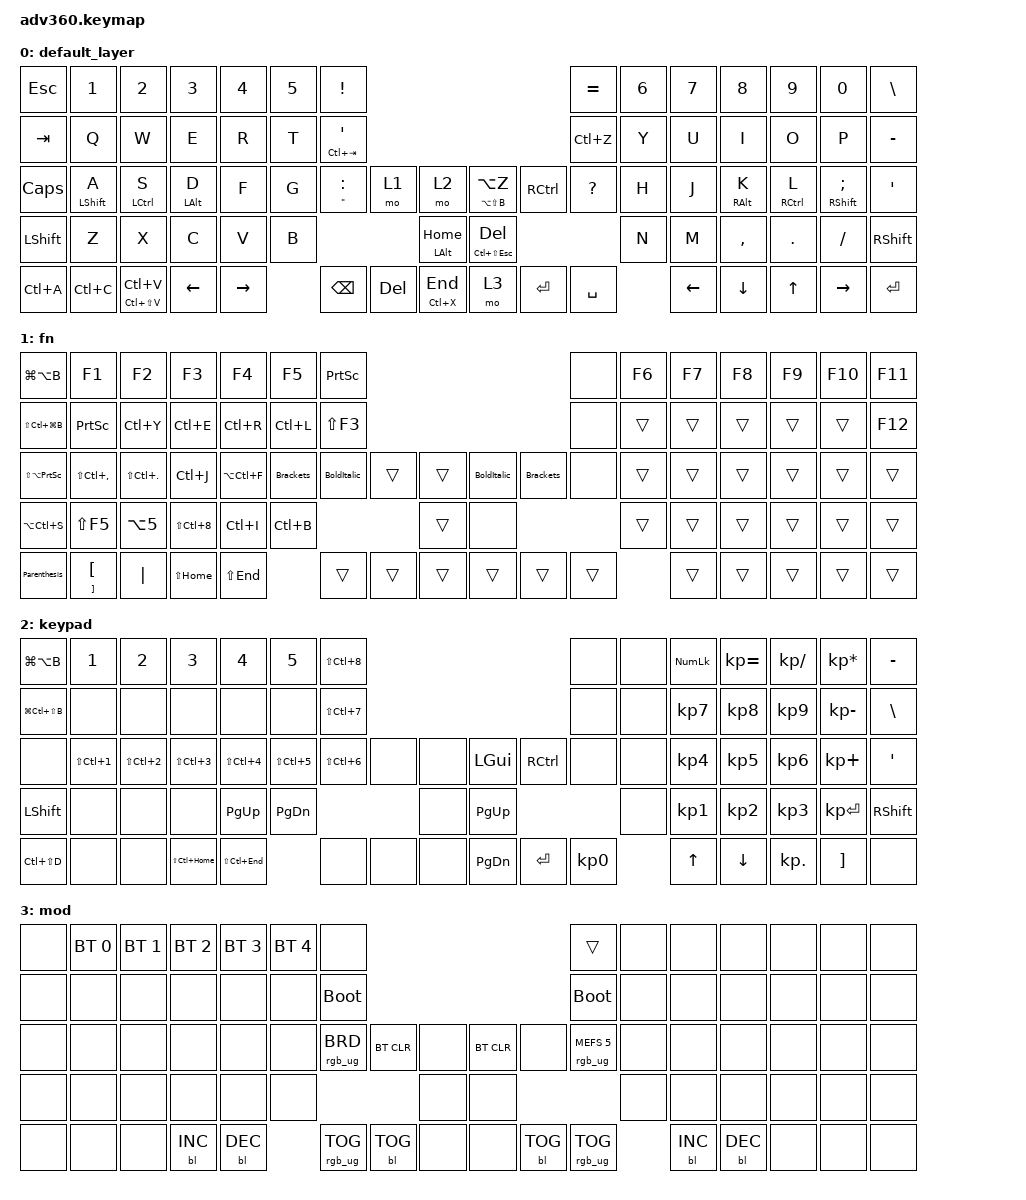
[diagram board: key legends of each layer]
#include <behaviors.dtsi>
#include <dt-bindings/zmk/backlight.h>
#include <dt-bindings/zmk/bt.h>
#include <dt-bindings/zmk/keys.h>
#include <dt-bindings/zmk/rgb.h>

/ {
    behaviors {
        #include "macros.dtsi"
      #include "version.dtsi"
      #ifndef VERSION_MACRO



        #endif

        hm: homerow_mods {
            compatible = "zmk,behavior-hold-tap";
            label = "HOMEROW_MODS";
            #binding-cells = <2>;
            tapping-term-ms = <250>;
            quick_tap_ms = <160>;
            flavor = "tap-preferred";
            bindings = <&kp>, <&kp>;
        };
    };

    macros {
        BoldItalic: BoldItalic {
            compatible = "zmk,behavior-macro";
            #binding-cells = <0>;
            bindings = <&kp LC(B) &kp LC(I) &kp RIGHT_ARROW>;
            label = "BOLDITALIC";
        };

        Brackets: Brackets {
            compatible = "zmk,behavior-macro";
            #binding-cells = <0>;
            bindings = <&kp LBKT &kp RBKT &kp LEFT_ARROW>;
            label = "BRACKETS";
        };

        Parenthesis: Paranthesis {
            compatible = "zmk,behavior-macro";
            #binding-cells = <0>;
            bindings = <&kp LEFT_PARENTHESIS &kp RIGHT_PARENTHESIS &kp LEFT_ARROW>;
            label = "PARANTHESIS";
        };
    };

    keymap {
        compatible = "zmk,keymap";

        default_layer {
            bindings = <
&kp ESCAPE  &kp N1            &kp N2               &kp N3          &kp N4     &kp N5  &kp EXCLAMATION                                                                                   &kp EQUAL     &kp N6  &kp N7    &kp N8           &kp N9               &kp N0                &kp BACKSLASH
&kp TAB     &kp Q             &kp W                &kp E           &kp R      &kp T   &mt LC(TAB) SQT                                                                                   &kp LC(Z)     &kp Y   &kp U     &kp I            &kp O                &kp P                 &kp MINUS
&kp CAPS    &hm LEFT_SHIFT A  &hm LEFT_CONTROL S   &hm LEFT_ALT D  &kp F      &kp G   &mt DOUBLE_QUOTES COLON  &mo 1       &mo 2                  &mt LA(LS(B)) LA(Z)        &kp RCTRL  &kp QUESTION  &kp H   &kp J     &hm RIGHT_ALT K  &hm RIGHT_CONTROL L  &hm RIGHT_SHIFT SEMI  &kp SQT
&kp LSHFT   &kp Z             &kp X                &kp C           &kp V      &kp B                                        &mt LEFT_ALT HOME      &mt LC(LS(ESCAPE)) DELETE                           &kp N   &kp M     &kp COMMA        &kp DOT              &kp FSLH              &kp RSHFT
&kp LC(A)   &kp LC(C)         &mt LC(LS(V)) LC(V)  &kp LEFT        &kp RIGHT          &kp BSPC                 &kp DELETE  &mt LC(X) END          &mo 3                      &kp ENTER  &kp SPACE             &kp LEFT  &kp DOWN         &kp UP_ARROW         &kp RIGHT             &kp ENTER
            >;
        };

        fn {
            bindings = <
&kp LG(LA(B))            &kp F1                          &kp F2           &kp F3          &kp F4         &kp F5     &kp PRINTSCREEN                                              &none   &kp F6  &kp F7  &kp F8  &kp F9  &kp F10  &kp F11
&kp LS(LC(LG(B)))        &kp PRINTSCREEN                 &kp LC(Y)        &kp LC(E)       &kp LC(R)      &kp LC(L)  &kp LS(F3)                                                   &none   &trans  &trans  &trans  &trans  &trans   &kp F12
&kp LS(LA(PRINTSCREEN))  &kp LS(LC(COMMA))               &kp LS(LC(DOT))  &kp LC(J)       &kp LA(LC(F))  &Brackets  &BoldItalic      &trans  &trans      &BoldItalic  &Brackets  &none   &trans  &trans  &trans  &trans  &trans   &trans
&kp LA(LC(S))            &kp LS(F5)                      &kp LA(N5)       &kp LS(LC(N8))  &kp LC(I)      &kp LC(B)                           &trans      &none                           &trans  &trans  &trans  &trans  &trans   &trans
&Parenthesis             &mt RIGHT_BRACKET LEFT_BRACKET  &kp PIPE         &kp LS(HOME)    &kp LS(END)               &trans           &trans  &trans      &trans       &trans     &trans          &trans  &trans  &trans  &trans   &trans
            >;
        };

        keypad {
            bindings = <
&kp LG(LA(B))      &kp N1                &kp N2                &kp N3                &kp N4                &kp N5          &kp LS(LC(N8))                                                &none      &none  &kp KP_NUM  &kp KP_EQUAL  &kp KP_DIVIDE  &kp KP_MULTIPLY  &kp MINUS
&kp LG(LC(LS(B)))  &none                 &none                 &none                 &none                 &none           &kp LS(LC(N7))                                                &none      &none  &kp KP_N7   &kp KP_N8     &kp KP_N9      &kp KP_MINUS     &kp BSLH
&none              &kp LS(LC(NUMBER_1))  &kp LS(LC(NUMBER_2))  &kp LS(LC(NUMBER_3))  &kp LS(LC(NUMBER_4))  &kp LS(LC(N5))  &kp LS(LC(NUMBER_6))  &none  &none      &kp LGUI   &kp RCTRL  &none      &none  &kp KP_N4   &kp KP_N5     &kp KP_N6      &kp KP_PLUS      &kp SQT
&kp LSHFT          &none                 &none                 &none                 &kp PAGE_UP           &kp PAGE_DOWN                                &none      &kp PG_UP                        &none  &kp KP_N1   &kp KP_N2     &kp KP_N3      &kp KP_ENTER     &kp RSHFT
&kp LC(LS(D))      &none                 &none                 &kp LS(LC(HOME))      &kp LS(LC(END))                       &none                 &none  &none      &kp PG_DN  &kp ENTER  &kp KP_N0         &kp UP      &kp DOWN      &kp KP_DOT     &kp RBKT         &none
            >;
        };

        mod {
            bindings = <
&none  &bt BT_SEL 0  &bt BT_SEL 1  &bt BT_SEL 2  &bt BT_SEL 3  &bt BT_SEL 4  &none                                                           &trans                  &none  &none       &none       &none  &none  &none
&none  &none         &none         &none         &none         &none         &bootloader                                                     &bootloader             &none  &none       &none       &none  &none  &none
&none  &none         &none         &none         &none         &none         &rgb_ug RGB_BRD  &bt BT_CLR  &none      &bt BT_CLR  &none       &rgb_ug RGB_MEFS_CMD 5  &none  &none       &none       &none  &none  &none
&none  &none         &none         &none         &none         &none                                      &none      &none                                           &none  &none       &none       &none  &none  &none
&none  &none         &none         &bl BL_INC    &bl BL_DEC                  &rgb_ug RGB_TOG  &bl BL_TOG  &none      &none       &bl BL_TOG  &rgb_ug RGB_TOG                &bl BL_INC  &bl BL_DEC  &none  &none  &none
            >;
        };
    };
};
